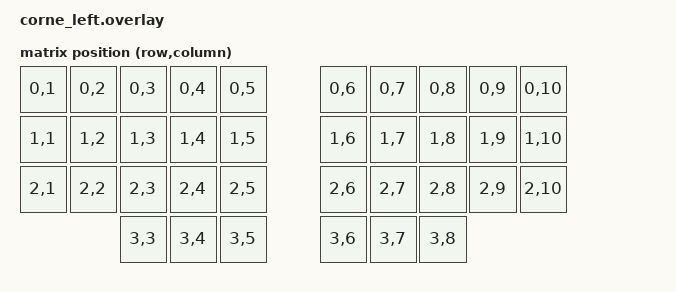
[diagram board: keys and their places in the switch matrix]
#include <dt-bindings/zmk/matrix_transform.h>

/*
 * Use Corne's 5-column physical layout for Miryoku on 3x6 Corne PCBs.
 *
 * The physical PCB still has 6 columns per half, but Miryoku uses the inner
 * 5 columns plus 3 thumbs. Selecting the 5col layout drops the outside columns
 * in the scan-to-keymap position map so the second physical column starts at Q.
 */

/*
 * Stock five_column_transform uses columns = 10, so the dropped outer
 * column (raw col 0, col-offset 0) lands at logical column 0, but
 * row * 10 + 0 overflows into the next row's index range (row1's RC(0,10)
 * and row2's RC(1,10)), ghost-pressing those keys instead of doing nothing.
 * Widening columns to 12 gives the dropped column room to land outside any
 * row's valid range. Defined locally (instead of overriding the upstream
 * &five_column_transform label) because that label isn't visible from this
 * overlay at merge time.
 */
/ {
    chosen {
        zmk,physical-layout = &foostan_corne_5col_layout;
    };

    five_column_transform_fixed: keymap_transform_fixed {
        compatible = "zmk,matrix-transform";
        columns = <12>;
        rows = <4>;
        map = <
RC(0,1) RC(0,2) RC(0,3) RC(0,4) RC(0,5)  RC(0,6) RC(0,7) RC(0,8) RC(0,9) RC(0,10)
RC(1,1) RC(1,2) RC(1,3) RC(1,4) RC(1,5)  RC(1,6) RC(1,7) RC(1,8) RC(1,9) RC(1,10)
RC(2,1) RC(2,2) RC(2,3) RC(2,4) RC(2,5)  RC(2,6) RC(2,7) RC(2,8) RC(2,9) RC(2,10)
                        RC(3,3) RC(3,4) RC(3,5)  RC(3,6) RC(3,7) RC(3,8)
        >;
    };
};

&foostan_corne_5col_layout {
    transform = <&five_column_transform_fixed>;
};
